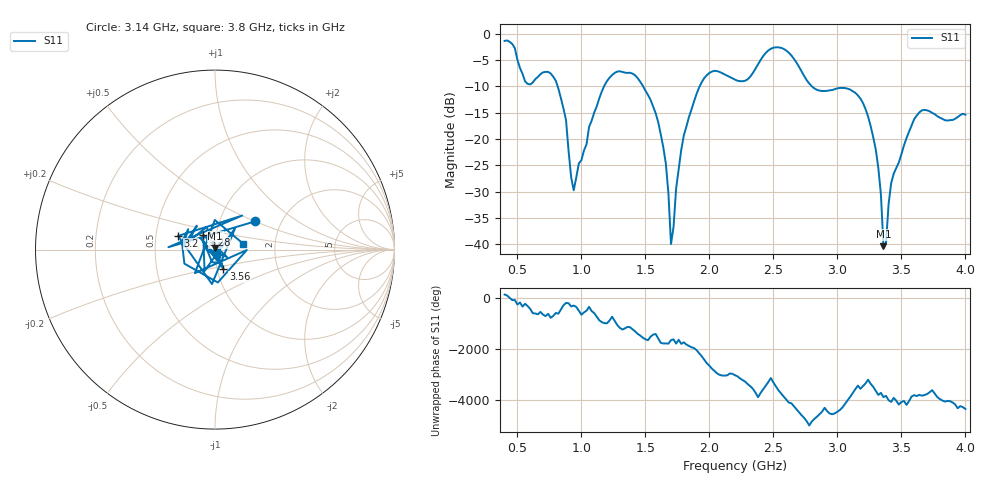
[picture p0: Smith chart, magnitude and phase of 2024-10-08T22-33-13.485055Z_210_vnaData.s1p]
! Created with skrf (http://scikit-rf.org).
# Hz S RI R 50.0
!freq ReS11 ImS11
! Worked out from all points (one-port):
!   181 points, 400 MHz to 4 GHz, reference 50 ohm
!   lowest |S11| = -40.4 dB at 3.36 GHz (marker M1), VSWR 1.02, Z = 50.1 + j0.957 ohm
!   |S11| at or under -10 dB: 814.7 MHz to 1.176 GHz (361.8 MHz wide, 36.3 % of centre); 1.483 GHz to 1.924 GHz (440.7 MHz wide, 25.9 % of centre); 2.802 GHz to end of sweep
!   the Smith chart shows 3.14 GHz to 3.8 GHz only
!   S11 on the Smith chart (normalised r, x): 3.14 GHz: 1.48, +0.51; 3.2 GHz: 0.65, +0.10; 3.28 GHz: 0.87, +0.14; 3.56 GHz: 1.07, -0.23; 3.8 GHz: 1.37, +0.09
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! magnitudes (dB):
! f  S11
! 400 MHz  -1.3
! 580 MHz  -9.5
! 760 MHz  -7.5
! 860 MHz  -14.2
! 940 MHz  -29.7
! 1.16 GHz  -10.9
! 1.3 GHz  -7.1
! 1.58 GHz  -15.1
! 1.66 GHz  -24.7
! 1.7 GHz  -40.0
! 1.76 GHz  -25.7
! 1.96 GHz  -8.4
! 2.2 GHz  -8.7
! 2.5 GHz  -2.6
! 2.66 GHz  -4.7
! 2.84 GHz  -10.6
! 3.1 GHz  -10.6
! 3.14 GHz  -11.2
! 3.2 GHz  -13.2
! 3.28 GHz  -19.6
! 3.34 GHz  -30.5
! 3.36 GHz  -40.4
! 3.38 GHz  -39.7
! 3.42 GHz  -28.4
! 3.56 GHz  -18.6
! 3.66 GHz  -14.5
! 3.8 GHz  -15.9
! 4 GHz  -15.4
